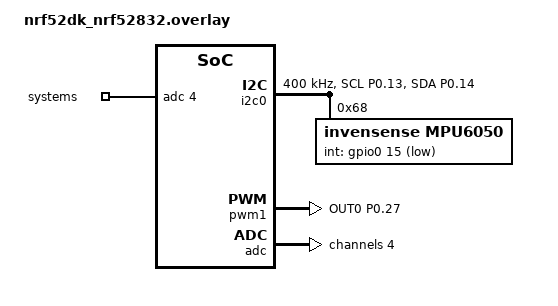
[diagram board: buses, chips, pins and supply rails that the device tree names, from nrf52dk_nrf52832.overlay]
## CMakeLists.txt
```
cmake_minimum_required(VERSION 3.20.0)
find_package(Zephyr REQUIRED HINTS $ENV{ZEPHYR_BASE})

project(drone_fc)

# include sensor drivers folder
target_include_directories(app PRIVATE 
${CMAKE_CURRENT_SOURCE_DIR}/sensor_drivers
src/)

target_sources(app PRIVATE 
src/main.c
sensor_drivers/mpu6050.c
src/imu.c
src/attitude.c
src/madgwick_filter.c
src/pid.c
src/pwm.c
src/drone_systems.c
src/bluetooth.c
src/safety.c
)
```

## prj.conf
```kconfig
CONFIG_I2C=y
CONFIG_ADC=y
CONFIG_ADC_NRFX_SAADC=y
CONFIG_LOG=y
CONFIG_PWM=y
CONFIG_BT=y
CONFIG_WATCHDOG=y
CONFIG_BT_PERIPHERAL=y
CONFIG_BT_MAX_CONN=1
CONFIG_BT_DEVICE_NAME="Drone_FC"
CONFIG_MPU6050=n
CONFIG_SYS_CLOCK_TICKS_PER_SEC=32768


CONFIG_RESET_ON_FATAL_ERROR=n
CONFIG_CBPRINTF_FP_SUPPORT=y

# Enable detailed hardware crash dumping
CONFIG_DEBUG=y
CONFIG_FAULT_DUMP=2
```

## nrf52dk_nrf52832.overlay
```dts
// To get started, press Ctrl+Space (or Option+Esc) to bring up the completion menu and view the available nodes.

// You can also use the buttons in the sidebar to perform actions on nodes.
// Actions currently available include:

// * Enabling / disabling the node
// * Adding the bus to a bus
// * Removing the node
// * Connecting ADC channels

// For more help, browse the DeviceTree documentation at https://docs.zephyrproject.org/latest/guides/dts/index.html
// You can also visit the nRF DeviceTree extension documentation at https://docs.nordicsemi.com/bundle/nrf-connect-vscode/page/guides/ncs_configure_app.html#devicetree-support-in-the-extension

&i2c0 {
    status = "okay";
    clock-frequency = <I2C_BITRATE_FAST>;

    pinctrl-0 = <&i2c0_default>;
    pinctrl-1 = <&i2c0_sleep>;
    pinctrl-names = "default", "sleep";
    mpu6050: mpu6050@68 {
        compatible = "invensense,mpu6050";
        status = "okay";
        reg = <0x68>;

        int-gpios = <&gpio0 15 (GPIO_ACTIVE_LOW | GPIO_PULL_UP)>;
    };
};

&pwm1 {
    status = "okay";
    pinctrl-0 = <&pwm1_default>;
    pinctrl-names = "default";

};

/* Drone systems monitor ADC input: nRF52832 P0.28 = SAADC AIN4. */
&adc {
    status = "okay";
    #address-cells = <1>;
    #size-cells = <0>;

    channel@4 {
        reg = <4>;
        zephyr,gain = "ADC_GAIN_1_6";
        zephyr,reference = "ADC_REF_INTERNAL";
        zephyr,acquisition-time = <ADC_ACQ_TIME_DEFAULT>;
        zephyr,input-positive = <NRF_SAADC_AIN4>;
        zephyr,resolution = <12>;
    };
};

/ {
    zephyr,user {
        io-channels = <&adc 4>;
        io-channel-names = "systems";
    };
};

&pinctrl {
    /omit-if-no-ref/ i2c0_default: i2c0_default {
        group1 {
                psels = <NRF_PSEL(TWIM_SCL, 0, 13)>,
				<NRF_PSEL(TWIM_SDA, 0, 14)>;
                bias-pull-up;

        };
    };

    /omit-if-no-ref/ i2c0_sleep: i2c0_sleep {
        		group1  {
			psels = <NRF_PSEL(TWIM_SCL, 0, 13)>,
					<NRF_PSEL(TWIM_SDA, 0, 14)>;
			low-power-enable;

		};
    };

    pwm1_default: pwm1_default {
        group1 {
            psels = <NRF_PSEL(PWM_OUT0, 0, 27)>;
        };
    };
};

/ {
    aliases {
        watchdog0 = &wdt0;
    };
};
```

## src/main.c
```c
#include <zephyr/kernel.h>
#include <zephyr/drivers/i2c.h>
#include <zephyr/drivers/gpio.h>
#include <zephyr/logging/log.h>
#include <zephyr/drivers/pwm.h>


#include "mpu6050.h"
#include "global_objects.h"
#include "imu.h"
#include "ble.h"
#include "safety.h"

#define I2C_NODE DT_NODELABEL(mpu6050)
#define ESC_PWM_NODE DT_NODELABEL(pwm1)


// Thread Definitions
#define SAFETY_STACKSIZE 1024
#define SAFETY_THREAD_PRIORITY 0

#define IMU_STACKSIZE 1024
#define IMU_THREAD_PRIORITY 1

#define ATTITUDE_STACKSIZE 2048
#define ATTITUDE_THREAD_PRIORITY 2

#define PID_STACKSIZE 1024
#define PID_THREAD_PRIORITY 3

#define PWM_STACKSIZE 1024
#define PWM_THREAD_PRIORITY 4

#define DRONE_SYSTEMS_STACKSIZE 1024
#define DRONE_SYSTEMS_THREAD_PRIORITY 5

#define BLE_STACKSIZE 2048
#define BLE_THREAD_PRIORITY 6

// Initalize GPIO
static struct gpio_dt_spec mpu_int_gpio = GPIO_DT_SPEC_GET(I2C_NODE, int_gpios);
static struct gpio_callback mpu_int_cb_data;

static const struct device *esc_pwm = DEVICE_DT_GET(ESC_PWM_NODE);

LOG_MODULE_REGISTER(main_task, LOG_LEVEL_DBG);


// This function init's the imu inturupt, which is responsible for thread unblocking for imu.c
int initalize_imu_inturrupts() {
    int ret = gpio_pin_configure_dt(&mpu_int_gpio, GPIO_INPUT);
    if (ret) {
            LOG_ERR("gpio_pin_configure_dt Error code: %d", ret);
            return ret;
    }

    ret = gpio_pin_interrupt_configure_dt(&mpu_int_gpio, GPIO_INT_EDGE_TO_ACTIVE);
    if (ret) {
            LOG_ERR("gpio_pin_interrupt_configure_dt error: Error code: %d", ret);
            return ret;
    }
    gpio_init_callback(&mpu_int_cb_data, mpu_inturrupt, BIT(mpu_int_gpio.pin)); 	
    gpio_add_callback(mpu_int_gpio.port, &mpu_int_cb_data);

    return 0;


}

// Initalizes the imu -> attitude message queue
K_MSGQ_DEFINE(attitude_message_queue, sizeof(struct imu_packet), 1, sizeof(void *));
// Initlaize the attiude -> pid thread
K_MSGQ_DEFINE(controls_message_queue, sizeof(attitude_data), 1, sizeof(void *));
// initlaize pid -> pwm thread
K_MSGQ_DEFINE(pwm_message_queue, sizeof(float), 1, sizeof(void *));


K_THREAD_DEFINE(imu_tasks, IMU_STACKSIZE, mpu_thread, NULL, NULL, NULL, IMU_THREAD_PRIORITY, 0, 0);
K_THREAD_DEFINE(attitude_tasks, ATTITUDE_STACKSIZE, attitude_thread, NULL, NULL, NULL, ATTITUDE_THREAD_PRIORITY, 0, 0);
K_THREAD_DEFINE(pid_tasks, PID_STACKSIZE, pid_thread, NULL, NULL, NULL, PID_THREAD_PRIORITY, 0, 0);
K_THREAD_DEFINE(pwm_tasks, PWM_STACKSIZE, pwm_thread, NULL, NULL, NULL, PWM_THREAD_PRIORITY, 0, 0);
K_THREAD_DEFINE(drone_systems_tasks, DRONE_SYSTEMS_STACKSIZE, drone_systems_thread, NULL, NULL, NULL, DRONE_SYSTEMS_THREAD_PRIORITY, 0, 0);
K_THREAD_DEFINE(ble_tasks, BLE_STACKSIZE, ble_thread, NULL, NULL, NULL, BLE_THREAD_PRIORITY, 0, 0);
K_THREAD_DEFINE(safety_tasks, BLE_STACKSIZE, ble_thread, NULL, NULL, NULL, SAFETY_THREAD_PRIORITY, 0, 0);




int main() {


    int ret = ble_init();
    if (ret) {
        LOG_ERR("BLE init failed, continuing without BLE");
    }

    init_mpu6050();
    initalize_imu_inturrupts();



    if (!device_is_ready(esc_pwm)) {
        LOG_ERR("PWM device not ready");
        return -1;
    }

    pwm_set(esc_pwm, 0, PWM_MSEC(20), PWM_USEC(1000), PWM_POLARITY_NORMAL);

    init_watchdog();

    return 0;
}
```

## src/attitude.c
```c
#include <zephyr/kernel.h>
#include <zephyr/logging/log.h>
#include <math.h>
#include <zephyr/logging/log.h>
#include <zephyr/sys/atomic.h>

#include "global_objects.h"
#include "madgwick_filter.h"
#include "ble.h"

#define PI 3.14159265f
#define RAD_TO_DEG (57.2957795131f)


LOG_MODULE_REGISTER(attitude_task, LOG_LEVEL_DBG);

// This converts quanterion to degrees after the filter outputs
attitude_data quanterion_to_deg(Quanterion q);


void attitude_thread(void *p1, void *p2, void *p3) {
    bool push = 1;
    struct imu_packet imu_message;
    attitude_data am;
    Quanterion quants = {1.0f, 0.0f, 0.0f, 0.0f}; // This is the default 0 rotation setting
    uint64_t prev_time_ticks = 0;
    uint8_t ble_push = 0;

    while (1) {
        k_msgq_get(&attitude_message_queue, &imu_message, K_FOREVER);
        float gx, gy, gz, ax, ay, az;
        float delta;
        
        // Ensures first run is proper
        if (prev_time_ticks == 0) {
            delta = 0.002f;
            prev_time_ticks = imu_message.timestamp;
        }
        else {
            // Converts the ticks to us, then to seconds
            delta = (float) k_ticks_to_us_floor64(imu_message.timestamp - prev_time_ticks) / 1000000.0f;
            prev_time_ticks = imu_message.timestamp;
        }


        // Convert to radians
        gx = imu_message.gx * (PI/180);
        gy = imu_message.gy * (PI/180);
        gz = imu_message.gz * (PI/180);

        ax = imu_message.ax;
        ay = imu_message.ay;
        az = imu_message.az;

        filterUpdate(gx, gy, gz, ax, ay, az, &quants, delta);

        // Reconverts the quanterions to radians, and finally degrees
        am = quanterion_to_deg(quants);

        // Downsamples attitude telemetry from 500hz to 25hz
        ble_push++;
        if (ble_push >= 20) {
            ble_publish_attitude(am.roll, am.pitch, am.yaw);
            ble_push = 0;
        }


        // Downsamples from 500hz to 250hz for the control loop
        if (push) {
            int ret = k_msgq_put(&controls_message_queue, &am, K_NO_WAIT);
            if (ret) {
                attitude_data temp;
                // Push new data to message queue if control loop isn't keeping up by removing old and putting new
                LOG_ERR("controls thread not keeping up with the message pipeline, error code: %d", ret);
                k_msgq_get(&controls_message_queue, &temp, K_NO_WAIT);
                k_msgq_put(&controls_message_queue, &am, K_NO_WAIT);
                }
            push = !push;
        }
        else {
            push = !push;
        } 
    }
    atomic_set(&global_roll, (int)(am.roll*100));
    atomic_set(&attitude_heartbeat, k_uptime_get_32());
}

attitude_data quanterion_to_deg(Quanterion q) {
    attitude_data ret;
    ret.roll = atan2f(2.0f*((q.q1 * q.q2) + (q.q3*q.q4)), 1.0f - 2.0f*(q.q2 * q.q2 + q.q3 * q.q3)) * RAD_TO_DEG;
    
    float sinp = 2.0f * (q.q1 * q.q3 - q.q4 * q.q2);

    // Clamp extreme values to prevent Gimbal Lock / NaN errors
    if (sinp > 1.0f) {
        sinp = 1.0f;
    } else if (sinp < -1.0f) {
        sinp = -1.0f;
    }
    ret.pitch = asinf(sinp) * RAD_TO_DEG;

    ret.yaw = atan2f(2.0f * (q.q1 * q.q4 + q.q2 * q.q3), 
            1.0f - 2.0f * (q.q3 * q.q3 + q.q4 * q.q4)) * RAD_TO_DEG;
    
    return ret;

}
```

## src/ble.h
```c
#ifndef BLE_H
#define BLE_H

#include <stdint.h>

int ble_init(void);
void ble_thread(void *p1, void *p2, void *p3);

void ble_publish_attitude(float roll, float pitch, float yaw);
void ble_publish_pid(float output);
void ble_publish_actuator(float throttle);
void ble_publish_system(uint16_t battery_mv, uint32_t flags);

#endif
```

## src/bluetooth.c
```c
#include <zephyr/kernel.h>
#include <zephyr/sys/byteorder.h>
#include <zephyr/bluetooth/bluetooth.h>
#include <zephyr/bluetooth/conn.h>
#include <zephyr/bluetooth/gatt.h>
#include <zephyr/bluetooth/hci.h>
#include <zephyr/bluetooth/uuid.h>
#include <zephyr/logging/log.h>
#include <zephyr/sys/util.h>

#include "ble.h"
#include "pid.h"

#define TELEMETRY_PERIOD_MS 50
#define TELEMETRY_QUEUE_LEN 16

/* Version the notification packet so clients can reject incompatible layouts. */
#define TELEMETRY_VERSION 1U


#define PID_GAIN_MAX_X1000 32000U

LOG_MODULE_REGISTER(bluetooth_task, LOG_LEVEL_DBG);

#define DRONE_SERVICE_UUID_VAL \
    BT_UUID_128_ENCODE(0x4f4e0001, 0x9b3b, 0x4a7d, 0xbf07, 0x1a4e4bdfc001)
#define DRONE_TELEMETRY_UUID_VAL \
    BT_UUID_128_ENCODE(0x4f4e0002, 0x9b3b, 0x4a7d, 0xbf07, 0x1a4e4bdfc001)
#define DRONE_PID_CONFIG_UUID_VAL \
    BT_UUID_128_ENCODE(0x4f4e0003, 0x9b3b, 0x4a7d, 0xbf07, 0x1a4e4bdfc001)


struct __packed telemetry_packet {
    uint8_t version;
    uint8_t flags;
    int16_t roll_cdeg;
    int16_t pitch_cdeg;
    int16_t yaw_cdeg;
    int16_t pid_output_x100;
    uint16_t throttle_x10;
    uint16_t battery_mv;
    uint32_t uptime_ms;
};

enum telemetry_update_type {
    TELEMETRY_UPDATE_ATTITUDE,
    TELEMETRY_UPDATE_PID,
    TELEMETRY_UPDATE_ACTUATOR,
    TELEMETRY_UPDATE_SYSTEM,
};

struct telemetry_update {
    enum telemetry_update_type type;
    float roll;
    float pitch;
    float yaw;
    float pid_output;
    float throttle;
    uint16_t battery_mv;
    uint32_t flags;
};

struct telemetry_state {
    float roll;
    float pitch;
    float yaw;
    float pid_output;
    float throttle;
    uint16_t battery_mv;
    uint32_t flags;
};

static const struct bt_uuid_128 service_uuid =
    BT_UUID_INIT_128(DRONE_SERVICE_UUID_VAL);
static const struct bt_uuid_128 telemetry_uuid =
    BT_UUID_INIT_128(DRONE_TELEMETRY_UUID_VAL);
static const struct bt_uuid_128 pid_config_uuid =
    BT_UUID_INIT_128(DRONE_PID_CONFIG_UUID_VAL);

static const struct bt_data ad[] = {
    BT_DATA_BYTES(BT_DATA_FLAGS, BT_LE_AD_GENERAL | BT_LE_AD_NO_BREDR),
    BT_DATA_BYTES(BT_DATA_UUID128_ALL, DRONE_SERVICE_UUID_VAL),
};

static const struct bt_data sd[] = {
    BT_DATA(BT_DATA_NAME_COMPLETE, CONFIG_BT_DEVICE_NAME,
            sizeof(CONFIG_BT_DEVICE_NAME) - 1),
};

K_MSGQ_DEFINE(telemetry_queue, sizeof(struct telemetry_update), TELEMETRY_QUEUE_LEN,
              sizeof(void *));
K_MUTEX_DEFINE(connection_mutex);

static struct telemetry_state telemetry;
static struct bt_conn *current_conn;
static bool notify_enabled;
static const struct bt_gatt_attr *telemetry_attr;

static int16_t angle_to_centideg(float angle)
{
    return (int16_t)(CLAMP(angle, -327.68f, 327.67f) * 100.0f);
}

static int16_t int16_to_le(int16_t value)
{
    return (int16_t)sys_cpu_to_le16((uint16_t)value);
}

static void publish_update(const struct telemetry_update *update)
{
    /* Replace oldest before update */
    if (k_msgq_put(&telemetry_queue, update, K_NO_WAIT) != 0) {
        struct telemetry_update old;

        (void)k_msgq_get(&telemetry_queue, &old, K_NO_WAIT);
        if (k_msgq_put(&telemetry_queue, update, K_NO_WAIT) != 0) {
            LOG_DBG("BLE telemetry queue full");
        }
    }
}

void ble_publish_attitude(float roll, float pitch, float yaw)
{
    struct telemetry_update update = {
        .type = TELEMETRY_UPDATE_ATTITUDE,
        .roll = roll,
        .pitch = pitch,
        .yaw = yaw,
    };

    publish_update(&update);
}

void ble_publish_pid(float output)
{
    struct telemetry_update update = {
        .type = TELEMETRY_UPDATE_PID,
        .pid_output = output,
    };

    publish_update(&update);
}

void ble_publish_actuator(float throttle)
{
    struct telemetry_update update = {
        .type = TELEMETRY_UPDATE_ACTUATOR,
        .throttle = throttle,
    };

    publish_update(&update);
}

void ble_publish_system(uint16_t battery_mv, uint32_t flags)
{
    struct telemetry_update update = {
        .type = TELEMETRY_UPDATE_SYSTEM,
        .battery_mv = battery_mv,
        .flags = flags,
    };

    publish_update(&update);
}

static void handle_update(const struct telemetry_update *update)
{
    switch (update->type) {
    case TELEMETRY_UPDATE_ATTITUDE:
        telemetry.roll = update->roll;
        telemetry.pitch = update->pitch;
        telemetry.yaw = update->yaw;
        break;

    case TELEMETRY_UPDATE_PID:
        telemetry.pid_output = update->pid_output;
        break;

    case TELEMETRY_UPDATE_ACTUATOR:
        telemetry.throttle = update->throttle;
        break;

    case TELEMETRY_UPDATE_SYSTEM:
        telemetry.battery_mv = update->battery_mv;
        telemetry.flags = update->flags;
        break;
    }
}

static void build_packet(struct telemetry_packet *packet)
{
    packet->version = TELEMETRY_VERSION;
    packet->flags = (uint8_t)telemetry.flags;
    packet->roll_cdeg = int16_to_le(angle_to_centideg(telemetry.roll));
    packet->pitch_cdeg = int16_to_le(angle_to_centideg(telemetry.pitch));
    packet->yaw_cdeg = int16_to_le(angle_to_centideg(telemetry.yaw));
    packet->pid_output_x100 = int16_to_le((int16_t)(telemetry.pid_output * 100.0f));
    packet->throttle_x10 = sys_cpu_to_le16((uint16_t)(telemetry.throttle * 10.0f));
    packet->battery_mv = sys_cpu_to_le16(telemetry.battery_mv);
    packet->uptime_ms = sys_cpu_to_le32(k_uptime_get_32());
}

static void send_telemetry(void)
{
    struct telemetry_packet packet;
    struct bt_conn *conn = NULL;

    k_mutex_lock(&connection_mutex, K_FOREVER);
    if (current_conn != NULL && notify_enabled) {
        conn = bt_conn_ref(current_conn);
    }
    k_mutex_unlock(&connection_mutex);

    if (conn == NULL) {
        return;
    }

    build_packet(&packet);

    int ret = bt_gatt_notify(conn, telemetry_attr, &packet, sizeof(packet));
    if (ret != 0) {
        LOG_DBG("Telemetry notify failed: %d", ret);
    }

    bt_conn_unref(conn);
}

static void telemetry_ccc_changed(const struct bt_gatt_attr *attr, uint16_t value)
{
    ARG_UNUSED(attr);

    k_mutex_lock(&connection_mutex, K_FOREVER);
    notify_enabled = (value == BT_GATT_CCC_NOTIFY);
    k_mutex_unlock(&connection_mutex);
}

static ssize_t write_pid_config(struct bt_conn *conn, const struct bt_gatt_attr *attr, const void *buf, uint16_t len, uint16_t offset, uint8_t flags)
{
    const uint8_t *data = buf;
    struct pid_command command;

    ARG_UNUSED(conn);
    ARG_UNUSED(attr);

    if (flags & BT_GATT_WRITE_FLAG_PREPARE) {
        return BT_GATT_ERR(BT_ATT_ERR_NOT_SUPPORTED);
    }

    /* PID values are scaled by 1000x*/
    if (len != 6) {
        return BT_GATT_ERR(BT_ATT_ERR_INVALID_ATTRIBUTE_LEN);
    }

    if (offset != 0) {
        return BT_GATT_ERR(BT_ATT_ERR_INVALID_OFFSET);
    }

    uint16_t kp = sys_get_le16(&data[0]);
    uint16_t ki = sys_get_le16(&data[2]);
    uint16_t kd = sys_get_le16(&data[4]);

    if (kp > PID_GAIN_MAX_X1000 ||
        ki > PID_GAIN_MAX_X1000 ||
        kd > PID_GAIN_MAX_X1000) {
        return BT_GATT_ERR(BT_ATT_ERR_VALUE_NOT_ALLOWED);
    }

    command.type = PID_COMMAND_SET_GAINS;
    command.kp = (float)kp / 1000.0f;
    command.ki = (float)ki / 1000.0f;
    command.kd = (float)kd / 1000.0f;

    if (pid_submit_command(&command) != 0) {
        return BT_GATT_ERR(BT_ATT_ERR_INSUFFICIENT_RESOURCES);
    }

    LOG_INF("PID gains updated over BLE");
    return len;
}

BT_GATT_SERVICE_DEFINE(drone_service, BT_GATT_PRIMARY_SERVICE(&service_uuid), BT_GATT_CHARACTERISTIC(&telemetry_uuid.uuid, BT_GATT_CHRC_NOTIFY, 0, NULL, NULL, NULL),
    BT_GATT_CCC(telemetry_ccc_changed,
                BT_GATT_PERM_READ | BT_GATT_PERM_WRITE),
    BT_GATT_CHARACTERISTIC(&pid_config_uuid.uuid,
                           BT_GATT_CHRC_WRITE,
                           BT_GATT_PERM_WRITE,
                           NULL, write_pid_config, NULL),
);

static int start_advertising(void)
{
    return bt_le_adv_start(BT_LE_ADV_CONN_FAST_1, ad, ARRAY_SIZE(ad), sd, ARRAY_SIZE(sd));
}

static void connected(struct bt_conn *conn, uint8_t err)
{
    if (err != 0) {
        LOG_ERR("BLE connection failed: %u", err);
        return;
    }

    k_mutex_lock(&connection_mutex, K_FOREVER);
    if (current_conn != NULL) {
        bt_conn_unref(current_conn);
    }
    current_conn = bt_conn_ref(conn);
    notify_enabled = false;
    k_mutex_unlock(&connection_mutex);

    LOG_INF("BLE connected");
}

static void disconnected(struct bt_conn *conn, uint8_t reason)
{
    k_mutex_lock(&connection_mutex, K_FOREVER);
    if (current_conn == conn) {
        bt_conn_unref(current_conn);
        current_conn = NULL;
    }
    notify_enabled = false;
    k_mutex_unlock(&connection_mutex);

    LOG_INF("BLE disconnected: %u", reason);
}

static void recycled(void)
{
    int ret = start_advertising();
    if (ret != 0) {
        LOG_ERR("Could not restart advertising: %d", ret);
    }
}

BT_CONN_CB_DEFINE(conn_callbacks) = {
    .connected = connected,
    .disconnected = disconnected,
    .recycled = recycled,
};

int ble_init(void)
{
    telemetry_attr = &drone_service.attrs[2];

    int ret = bt_enable(NULL);
    if (ret != 0) {
        LOG_ERR("Bluetooth init failed: %d", ret);
        return ret;
    }

    ret = start_advertising();
    if (ret != 0) {
        LOG_ERR("Advertising failed: %d", ret);
        return ret;
    }

    LOG_INF("BLE advertising started");
    return 0;
}

void ble_thread(void *p1, void *p2, void *p3)
{
    struct telemetry_update update;

    while (1) {
        /* Processes old things to from queue before sending telementry*/
        while (k_msgq_get(&telemetry_queue, &update, K_NO_WAIT) == 0) {
            handle_update(&update);
        }

        send_telemetry();
        k_sleep(K_MSEC(TELEMETRY_PERIOD_MS));
    }
}
```

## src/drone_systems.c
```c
#include <zephyr/kernel.h>
#include <zephyr/drivers/adc.h>
#include <zephyr/logging/log.h>

#include "global_objects.h"
#include "ble.h"

#define DRONE_SYSTEMS_NODE DT_PATH(zephyr_user)
#define DRONE_SYSTEMS_ADC_PERIOD_MS 200
#define MOVING_AVG_WINDOW 5
#define BATTERY_DIVIDER_NUMERATOR 28
#define BATTERY_DIVIDER_DENOMINATOR 10

struct batt_soc_point {
    int32_t battery_mv;
    uint16_t soc_pct_tenths;
};

static const struct batt_soc_point soc_table[] = {
    { 6400, 0 },
    { 7000, 25 },
    { 7200, 75 },
    { 7400, 175 },
    { 7600, 375 },
    { 7800, 575 },
    { 8000, 775 },
    { 8200, 900 },
    { 8400, 1000 },
};

static const struct adc_dt_spec systems_adc =
    ADC_DT_SPEC_GET_BY_NAME(DRONE_SYSTEMS_NODE, systems);

LOG_MODULE_REGISTER(drone_systems, LOG_LEVEL_DBG);

static uint16_t get_charge_percentage(int32_t battery_mv)
{
    if (battery_mv <= soc_table[0].battery_mv) {
        return soc_table[0].soc_pct_tenths;
    }

    size_t num_points = ARRAY_SIZE(soc_table);
    if (battery_mv >= soc_table[num_points - 1].battery_mv) {
        return soc_table[num_points - 1].soc_pct_tenths;
    }

    for (size_t i = 0; i < num_points - 1; i++) {
        if (battery_mv <= soc_table[i + 1].battery_mv) {
            int32_t voltage_range = soc_table[i + 1].battery_mv -
                                     soc_table[i].battery_mv;
            int32_t soc_range = soc_table[i + 1].soc_pct_tenths -
                                soc_table[i].soc_pct_tenths;
            int32_t voltage_from_lower = battery_mv - soc_table[i].battery_mv;

            return soc_table[i].soc_pct_tenths +
                   (uint16_t)((voltage_from_lower * soc_range +
                               voltage_range / 2) / voltage_range);
        }
    }

    return soc_table[0].soc_pct_tenths;
}

void drone_systems_thread(void *p1, void *p2, void *p3)
{

    if (!adc_is_ready_dt(&systems_adc)) {
        LOG_ERR("Drone systems ADC device is not ready");
        return;
    }

    int ret = adc_channel_setup_dt(&systems_adc);
    if (ret) {
        LOG_ERR("Drone systems ADC channel setup failed: %d", ret);
        return;
    }

    struct adc_sequence sequence = {
        .buffer = NULL,
        .buffer_size = 0,
    };

    ret = adc_sequence_init_dt(&systems_adc, &sequence);
    if (ret) {
        LOG_ERR("Drone systems ADC sequence setup failed: %d", ret);
        return;
    }

    int16_t sample;
    int32_t pin_mv;

    int32_t window[MOVING_AVG_WINDOW];
    size_t window_count = 0;
    size_t window_idx = 0;
    int32_t window_sum = 0;

    LOG_INF("Drone systems monitor started at 5 Hz on ADC P0.28 (AIN4)");

    while (1) {
        sample = 0;
        sequence.buffer = &sample;
        sequence.buffer_size = sizeof(sample);

        ret = adc_read_dt(&systems_adc, &sequence);
        if (ret) {
            LOG_ERR("Drone systems ADC read failed: %d", ret);
        } else {
            pin_mv = sample;
            ret = adc_raw_to_millivolts_dt(&systems_adc, &pin_mv);
            if (ret) {
                LOG_ERR("Drone systems ADC millivolt conversion failed: %d", ret);
            } else {
                if (window_count < MOVING_AVG_WINDOW) {
                    window[window_count] = pin_mv;
                    window_sum += pin_mv;
                    window_count++;
                } else {
                    window_sum -= window[window_idx];
                    window[window_idx] = pin_mv;
                    window_sum += pin_mv;
                    window_idx = (window_idx + 1) % MOVING_AVG_WINDOW;
                }

                int32_t avg_pin_mv = window_sum / (int32_t)window_count;
                int32_t battery_mv =
                    (avg_pin_mv * BATTERY_DIVIDER_NUMERATOR +
                     BATTERY_DIVIDER_DENOMINATOR / 2) /
                    BATTERY_DIVIDER_DENOMINATOR;
                uint16_t charge_pct_tenths = get_charge_percentage(battery_mv);

                LOG_DBG("Drone systems ADC P0.28: avg_adc=%d.%03d V, battery=%d.%03d V, charge=%u.%u%%",
                        avg_pin_mv / 1000, avg_pin_mv % 1000,
                        battery_mv / 1000, battery_mv % 1000,
                        charge_pct_tenths / 10, charge_pct_tenths % 10);

                ble_publish_system((uint16_t)battery_mv, 0);
            }
        }

        k_sleep(K_MSEC(DRONE_SYSTEMS_ADC_PERIOD_MS));
    }
}
```

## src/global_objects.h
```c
#ifndef GLOBAL_OBJECTS_H
#define GLOBAL_OBJECTS_H

// message packet for imu -> attitude threads
struct imu_packet   {
    float ax, ay, az;
    float gx, gy, gz; 
    int64_t timestamp; // Total ticks

};

// message packet for attitude -> control threads
typedef struct attitude_data {
    float roll;
    float pitch;
    float yaw;
} attitude_data;

extern struct k_msgq attitude_message_queue;
extern struct k_msgq controls_message_queue;
extern struct k_msgq pwm_message_queue;

extern void mpu_thread(void *p1, void *p2, void *p3);
extern void attitude_thread(void *p1, void *p2, void *p3);
extern void pid_thread(void *p1, void *p2, void *p3);
extern void pwm_thread(void *p1, void *p2, void *p3);
extern void drone_systems_thread(void *p1, void *p2, void *p3);
extern void safety_thread(void *p1, void *p2, void *p3);



typedef enum {
    FLIGHT_DISARMED,
    FLIGHT_ARMED,
    FLIGHT_FAULT
} flight_state_t;

typedef struct {
    flight_state_t flight_state;
    uint32_t flight_flags;

} safety_state_t;

extern atomic_t pid_heartbeat;
extern atomic_t attitude_heartbeat;
extern atomic_t imu_heartbeat;
extern atomic_t global_roll;

#endif
```

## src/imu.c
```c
#include <zephyr/kernel.h>
#include <zephyr/drivers/i2c.h>
#include <zephyr/drivers/gpio.h>
#include <zephyr/logging/log.h>

#include "mpu6050.h"
#include "imu.h"
#include "global_objects.h"



#define I2C_NODE DT_NODELABEL(mpu6050)
#define ACC_LSB_SENS 16384.0f
#define GYRO_LSB_SENS 65.5f

// Logger module for logs
LOG_MODULE_REGISTER(imu_task, LOG_LEVEL_DBG);


/* Semaphore for a hardware inturrupt given by the mpu6050 sensor. basically, every 2 ms (500hz), the imu sends a data ready ping
and that adds a sem to instance monitor, which causes imu thread to wake up and to pass information to the altitude thread */
K_SEM_DEFINE(instance_monitor, 0, 1);

void mpu_inturrupt(const struct device *dev, struct gpio_callback *cb, uint32_t pins) {
        k_sem_give(&instance_monitor);
}

void mpu_thread(void *p1, void *p2, void *p3)
{

        struct imu_data acc;
        struct imu_packet packet;

        while (1) {
                
                k_sem_take(&instance_monitor, K_FOREVER);
                packet.timestamp = k_uptime_ticks();
                int ret = read_data(&acc);
                if (ret) {
                        continue;
                }

                packet.ax = (float) acc.ax/ACC_LSB_SENS;
                packet.ay = (float)acc.ay/ACC_LSB_SENS;
                packet.az = (float)acc.az/ACC_LSB_SENS;
                packet.gx = (float)acc.gx/GYRO_LSB_SENS;
                packet.gy = (float)acc.gy/GYRO_LSB_SENS;
                packet.gz = (float)acc.gz/GYRO_LSB_SENS;
                
                ret = k_msgq_put(&attitude_message_queue, &packet, K_NO_WAIT);

                if (ret) {
                        LOG_ERR("imu -> attitude thread message queue issue, attitude is lagging. error code %d", ret);
                        k_msgq_purge(&attitude_message_queue);
                        k_msgq_put(&attitude_message_queue, &packet, K_NO_WAIT);

                }

        }

    atomic_set(&imu_heartbeat, k_uptime_get_32());


}

/*
        packet.ax = acc.acc_x/ACC_LSB_SENS;
        packet.ax = acc.acc_y*1000/ACC_LSB_SENS;
        packet.ax = acc.acc_z*1000/ACC_LSB_SENS;

        packet.gx = (int32_t)acc.gyro_x*1000/GYRO_LSB_SENS;
        packet.gy = (int32_t)acc.gyro_y*1000/GYRO_LSB_SENS;
        packet.gz = (int32_t)acc.gyro_z*1000/GYRO_LSB_SENS;

*/
```

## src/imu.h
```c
#ifndef IMU_H
#define IMU_H

void mpu_inturrupt(const struct device *dev, struct gpio_callback *cb, uint32_t pins);

#endif
```

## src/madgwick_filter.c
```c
/*This is taken from the original Madgwick paper
https://web.enib.fr/~kerhoas/iot/reseau-de-capteurs/carte-imu-mpu9250/documents/INVENSENSE/madgwick_internal_report.pdf

The only things I've changed is adding a quanterion pointer for an output, changing the sampling period to
a true delta that will require time to be passed in, and changing the math to 32 bit precision for the nrf52832 FPU
*/
// Math library required for ‘sqrtf’
#include <math.h>
#include "madgwick_filter.h"
#include <stdbool.h>
// System constants
#define deltaa 0.002f // sampling period in seconds (shown as 1 ms)
#define gyroMeasError 3.14159265358979f * (5.0f / 180.0f) // gyroscope measurement error in rad/s (shown as 5 deg/s)
#define beta sqrtf(3.0f / 4.0f) * gyroMeasError // compute beta
// Global system variables
float a_x, a_y, a_z; // accelerometer measurements
float w_x, w_y, w_z; // gyroscope measurements in rad/s
float SEq_1 = 1.0f, SEq_2 = 0.0f, SEq_3 = 0.0f, SEq_4 = 0.0f; // estimated orientation quaternion elements with initial conditions
bool check = 0;
/**
 * @brief Madgwick filter
 * 
 * This is an implementation of a Madgwick filter, which takes in accel and gyro measurements, and outputs quanterions as a repersentation of the positon
 * 
 * @param w_x Gyroscope measurements in rad/s
 * @param w_y Gyroscope measurements in rad/s
 * @param w_z Gyroscope measurements in rad/s
 * @param a_x Accelerometer measurements, units don't matter as they get scaled
 * @param a_y Accelerometer measurements, units don't matter as they get scaled
 * @param a_z Accelerometer measurements, units don't matter as they get scaled
 * @param q Passes through a quanterion struct to save outputs
 * @param delta Time difference in seconds
 * 
 */
void filterUpdate(float w_x, float w_y, float w_z, float a_x, float a_y, float a_z, Quanterion *q, float delta)
{



// Local system variables
float norm; // vector norm
float SEqDot_omega_1, SEqDot_omega_2, SEqDot_omega_3, SEqDot_omega_4; // quaternion derrivative from gyroscopes elements
float f_1, f_2, f_3; // objective function elements
float J_11or24, J_12or23, J_13or22, J_14or21, J_32, J_33; // objective function Jacobian elements
float SEqHatDot_1, SEqHatDot_2, SEqHatDot_3, SEqHatDot_4; // estimated direction of the gyroscope error
// Axulirary variables to avoid reapeated calcualtions
float halfSEq_1 = 0.5f * q->q1;
float halfSEq_2 = 0.5f * q->q2;
float halfSEq_3 = 0.5f * q->q3;
float halfSEq_4 = 0.5f * q->q4;
float twoSEq_1 = 2.0f * q->q1;
float twoSEq_2 = 2.0f * q->q2;
float twoSEq_3 = 2.0f * q->q3;


// Normalise the accelerometer measurement
norm = sqrtf(a_x * a_x + a_y * a_y + a_z * a_z);
a_x /= norm;
a_y /= norm;
a_z /= norm;
// Compute the objective function and Jacobian
f_1 = twoSEq_2 * q->q4 - twoSEq_1 * q->q3 - a_x;
f_2 = twoSEq_1 * q->q2 + twoSEq_3 * q->q4 - a_y;
f_3 = 1.0f - twoSEq_2 * q->q2 - twoSEq_3 * q->q3 - a_z;
J_11or24 = twoSEq_3; // J_11 negated in matrix multiplication
J_12or23 = 2.0f * q->q4;
J_13or22 = twoSEq_1; // J_12 negated in matrix multiplication
J_14or21 = twoSEq_2;
J_32 = 2.0f * J_14or21; // negated in matrix multiplication
J_33 = 2.0f * J_11or24; // negated in matrix multiplication
// Compute the gradient (matrix multiplication)
SEqHatDot_1 = J_14or21 * f_2 - J_11or24 * f_1;
SEqHatDot_2 = J_12or23 * f_1 + J_13or22 * f_2 - J_32 * f_3;
SEqHatDot_3 = J_12or23 * f_2 - J_33 * f_3 - J_13or22 * f_1;
SEqHatDot_4 = J_14or21 * f_1 + J_11or24 * f_2;
// Normalise the gradient
norm = sqrtf(SEqHatDot_1 * SEqHatDot_1 + SEqHatDot_2 * SEqHatDot_2 + SEqHatDot_3 * SEqHatDot_3 + SEqHatDot_4 * SEqHatDot_4);
SEqHatDot_1 /= norm;
SEqHatDot_2 /= norm;
SEqHatDot_3 /= norm;
SEqHatDot_4 /= norm;
// Compute the quaternion derrivative measured by gyroscopes
SEqDot_omega_1 = -halfSEq_2 * w_x - halfSEq_3 * w_y - halfSEq_4 * w_z;
SEqDot_omega_2 = halfSEq_1 * w_x + halfSEq_3 * w_z - halfSEq_4 * w_y;
SEqDot_omega_3 = halfSEq_1 * w_y - halfSEq_2 * w_z + halfSEq_4 * w_x;
SEqDot_omega_4 = halfSEq_1 * w_z + halfSEq_2 * w_y - halfSEq_3 * w_x;
// Compute then integrate the estimated quaternion derrivative
q->q1 += (SEqDot_omega_1 - (beta * SEqHatDot_1)) * delta;
q->q2 += (SEqDot_omega_2 - (beta * SEqHatDot_2)) * delta;
q->q3 += (SEqDot_omega_3 - (beta * SEqHatDot_3)) * delta;
q->q4 += (SEqDot_omega_4 - (beta * SEqHatDot_4)) * delta;
// Normalise quaternion
norm = sqrtf(q->q1 * q->q1 + q->q2 * q->q2 + q->q3 * q->q3 + q->q4 * q->q4);
q->q1 /= norm;
q->q2 /= norm;
q->q3 /= norm;
q->q4 /= norm;


}
```

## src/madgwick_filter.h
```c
#ifndef MADGWICK_FILTER_H
#define MADGWICK_FILTER_H

typedef struct {
    float q1;
    float q2;
    float q3;
    float q4;
} Quanterion;

void filterUpdate(float w_x, float w_y, float w_z, float a_x, float a_y, float a_z, Quanterion *q, float delta);


#endif
```

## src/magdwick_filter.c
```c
/*This is taken from the original Madgwick paper
https://web.enib.fr/~kerhoas/iot/reseau-de-capteurs/carte-imu-mpu9250/documents/INVENSENSE/madgwick_internal_report.pdf

The only things I've changed is adding a quanterion pointer for an output, changing the sampling period to
a true delta that will require time to be passed in, and changing the math to 32 bit precision for the nrf52832 FPU
*/
// Math library required for ‘sqrtf’
#include <math.h>
#include "magdwick_filter.h"
#include <stdbool.h>
// System constants
#define deltaa 0.002f // sampling period in seconds (shown as 1 ms)
#define gyroMeasError 3.14159265358979f * (5.0f / 180.0f) // gyroscope measurement error in rad/s (shown as 5 deg/s)
#define beta sqrtf(3.0f / 4.0f) * gyroMeasError // compute beta
// Global system variables
float a_x, a_y, a_z; // accelerometer measurements
float w_x, w_y, w_z; // gyroscope measurements in rad/s
float SEq_1 = 1.0f, SEq_2 = 0.0f, SEq_3 = 0.0f, SEq_4 = 0.0f; // estimated orientation quaternion elements with initial conditions
bool check = 0;
/**
 * @brief Magdwick filter
 * 
 * This is an implementation of a Magdwick filter, which takes in accel and gyro measurements, and outputs quanterions as a repersentation of the positon
 * 
 * @param w_x Gyroscope measurements in rad/s
 * @param w_y Gyroscope measurements in rad/s
 * @param w_z Gyroscope measurements in rad/s
 * @param a_x Accelerometer measurements, units don't matter as they get scaled
 * @param a_y Accelerometer measurements, units don't matter as they get scaled
 * @param a_z Accelerometer measurements, units don't matter as they get scaled
 * @param q Passes through a quanterion struct to save outputs
 * @param delta Time difference in seconds
 * 
 */
void filterUpdate(float w_x, float w_y, float w_z, float a_x, float a_y, float a_z, Quanterion *q, float delta)
{



// Local system variables
float norm; // vector norm
float SEqDot_omega_1, SEqDot_omega_2, SEqDot_omega_3, SEqDot_omega_4; // quaternion derrivative from gyroscopes elements
float f_1, f_2, f_3; // objective function elements
float J_11or24, J_12or23, J_13or22, J_14or21, J_32, J_33; // objective function Jacobian elements
float SEqHatDot_1, SEqHatDot_2, SEqHatDot_3, SEqHatDot_4; // estimated direction of the gyroscope error
// Axulirary variables to avoid reapeated calcualtions
float halfSEq_1 = 0.5f * q->q1;
float halfSEq_2 = 0.5f * q->q2;
float halfSEq_3 = 0.5f * q->q3;
float halfSEq_4 = 0.5f * q->q4;
float twoSEq_1 = 2.0f * q->q1;
float twoSEq_2 = 2.0f * q->q2;
float twoSEq_3 = 2.0f * q->q3;


// Normalise the accelerometer measurement
norm = sqrtf(a_x * a_x + a_y * a_y + a_z * a_z);
a_x /= norm;
a_y /= norm;
a_z /= norm;
// Compute the objective function and Jacobian
f_1 = twoSEq_2 * q->q4 - twoSEq_1 * q->q3 - a_x;
f_2 = twoSEq_1 * q->q2 + twoSEq_3 * q->q4 - a_y;
f_3 = 1.0f - twoSEq_2 * q->q2 - twoSEq_3 * q->q3 - a_z;
J_11or24 = twoSEq_3; // J_11 negated in matrix multiplication
J_12or23 = 2.0f * q->q4;
J_13or22 = twoSEq_1; // J_12 negated in matrix multiplication
J_14or21 = twoSEq_2;
J_32 = 2.0f * J_14or21; // negated in matrix multiplication
J_33 = 2.0f * J_11or24; // negated in matrix multiplication
// Compute the gradient (matrix multiplication)
SEqHatDot_1 = J_14or21 * f_2 - J_11or24 * f_1;
SEqHatDot_2 = J_12or23 * f_1 + J_13or22 * f_2 - J_32 * f_3;
SEqHatDot_3 = J_12or23 * f_2 - J_33 * f_3 - J_13or22 * f_1;
SEqHatDot_4 = J_14or21 * f_1 + J_11or24 * f_2;
// Normalise the gradient
norm = sqrtf(SEqHatDot_1 * SEqHatDot_1 + SEqHatDot_2 * SEqHatDot_2 + SEqHatDot_3 * SEqHatDot_3 + SEqHatDot_4 * SEqHatDot_4);
SEqHatDot_1 /= norm;
SEqHatDot_2 /= norm;
SEqHatDot_3 /= norm;
SEqHatDot_4 /= norm;
// Compute the quaternion derrivative measured by gyroscopes
SEqDot_omega_1 = -halfSEq_2 * w_x - halfSEq_3 * w_y - halfSEq_4 * w_z;
SEqDot_omega_2 = halfSEq_1 * w_x + halfSEq_3 * w_z - halfSEq_4 * w_y;
SEqDot_omega_3 = halfSEq_1 * w_y - halfSEq_2 * w_z + halfSEq_4 * w_x;
SEqDot_omega_4 = halfSEq_1 * w_z + halfSEq_2 * w_y - halfSEq_3 * w_x;
// Compute then integrate the estimated quaternion derrivative
q->q1 += (SEqDot_omega_1 - (beta * SEqHatDot_1)) * delta;
q->q2 += (SEqDot_omega_2 - (beta * SEqHatDot_2)) * delta;
q->q3 += (SEqDot_omega_3 - (beta * SEqHatDot_3)) * delta;
q->q4 += (SEqDot_omega_4 - (beta * SEqHatDot_4)) * delta;
// Normalise quaternion
norm = sqrtf(q->q1 * q->q1 + q->q2 * q->q2 + q->q3 * q->q3 + q->q4 * q->q4);
q->q1 /= norm;
q->q2 /= norm;
q->q3 /= norm;
q->q4 /= norm;


}
```

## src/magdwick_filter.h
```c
#ifndef MAGDWICK_FILTER_H
#define MAGDWICK_FILTER_H

typedef struct {
    float q1;
    float q2;
    float q3;
    float q4;
} Quanterion;

void filterUpdate(float w_x, float w_y, float w_z, float a_x, float a_y, float a_z, Quanterion *q, float delta);


#endif
```

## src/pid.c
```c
#include <zephyr/kernel.h>

#include "global_objects.h"
#include "pid.h"
#include "ble.h"


#define SETPOINT 0
#define EQULIBIRUM 35

K_MSGQ_DEFINE(pid_command_queue, sizeof(struct pid_command), 4, sizeof(void *));

int pid_submit_command(const struct pid_command *command) {
    return k_msgq_put(&pid_command_queue, command, K_NO_WAIT);
}


void pid_thread(void *p1, void *p2, void *p3) {
    float delta, result;
    float output; // 0 to 100
    float input, setpoint = SETPOINT;
    float total_err = 0, last_input = 0;
    uint32_t prev_time = 0;
    struct attitude_data attitude_message;
    float iError = 0;

    float ki = 0, kp = 0, kd = 0;
    struct pid_command command;
    uint8_t ble_push = 0;

    int prev_clamped = 0; // -1 for negatively clamped, 1 for positively clampled.

    while (1) {

        k_msgq_get(&controls_message_queue, &attitude_message, K_FOREVER);

        while (k_msgq_get(&pid_command_queue, &command, K_NO_WAIT) == 0) {
            if (command.type == PID_COMMAND_SET_GAINS) {
                kp = command.kp;
                ki = command.ki;
                kd = command.kd;
            }
        }

        input = attitude_message.roll;
        // Ensures first run is proper
        if (prev_time == 0) {
            delta = 0.004f;
            prev_time = k_cycle_get_32();
        }
        else {
            // Converts the ticks to us, then to seconds
            uint32_t now = k_cycle_get_32();
            delta = (float) k_cyc_to_us_floor32(now - prev_time) / 1000000.0f;
            prev_time = now;
        }

        float error = setpoint - input;
        total_err += error;
        
        // Anti-windup
        if (!prev_clamped) {
            // does not allow for integral to be added if output is already clamped
        iError += ki * (error * delta);
        }
        else if (prev_clamped == -1 && (error*delta) > 0) {
            // UNLESS the integral is positive + prev_clamped was negative
            iError += ki * (error*delta);
        }
        else if (prev_clamped == 1 && (error*delta) < 0) {
            // same other way around
            iError += ki * (error*delta);
        }
        float dError = (input - last_input) / delta;
        last_input = input;
        result = (kp * error) + (iError) - (kd * dError);

        if (result > 100) {
            result = 100;
        }
        else if (result < -100) {
            result = -100;
        }
        else {
            prev_clamped = 0;
        }

        output = result + EQULIBIRUM;
        if (output > 100) {
            output = 100;
            prev_clamped = 1;
        }
        else if (output < 0) {
            output = 0;
            prev_clamped = -1;
        }
        else {
            prev_clamped = 0;
        }

        // Downsample PID telemetry from 250hz to 25hz
        ble_push++;
        if (ble_push >= 10) {
            ble_publish_pid(output);
            ble_push = 0;
        }

        while ((k_msgq_put(&pwm_message_queue, &output, K_NO_WAIT))) {
            k_msgq_purge(&pwm_message_queue);
        }
    }

    atomic_set(&pid_heartbeat, k_uptime_get_32());


}
```
